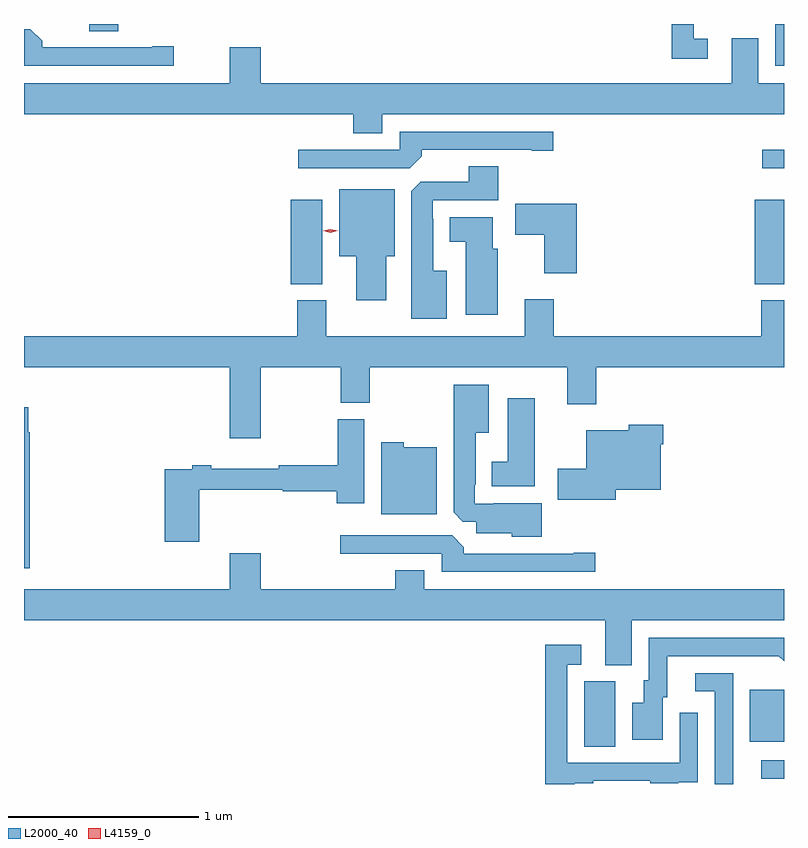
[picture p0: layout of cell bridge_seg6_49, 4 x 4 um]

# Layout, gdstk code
import gdstk
lib = gdstk.Library(unit=1e-6, precision=1e-09)
def R(c, l, rs):  # rectangles x0, y0, x1, y1
    for r in rs: c.add(gdstk.rectangle(r[:2], r[2:], *l))
def P(c, l, *ps):  # polygons
    for p in ps: c.add(gdstk.Polygon(p, *l))
L2000_40 = (2000, 40)
L4159_0 = (4159, 0)

bridge_seg6_49 = lib.new_cell('bridge_seg6_49')
R(bridge_seg6_49, L2000_40, [(1090.881,986.463,1091.002,986.559), (1089.95,986.632,1090.114,986.976), (1090.823,986.657,1091.002,986.932), (1088.405,989.065,1088.572,989.509), (1090.847,989.065,1091.002,989.509), (1090.887,989.676,1091.002,989.772), (1090.956,990.216,1091.002,990.435), (1087.346,990.397,1087.499,990.435)])
P(bridge_seg6_49, L2000_40, [(1090.6,990.357),(1090.527,990.357),(1090.527,990.435),(1090.411,990.435),(1090.411,990.252),(1090.6,990.252)],
  [(1087.789,990.317),(1087.676,990.317),(1087.676,990.312),(1087.097,990.312),(1087.097,990.346),(1087.035,990.408),(1087.002,990.408),(1087.002,990.216),(1087.789,990.216)],
  [(1088.887,989.96),(1091.002,989.96),(1091.002,990.124),(1090.867,990.124),(1090.867,990.36),(1090.727,990.36),(1090.727,990.124),(1088.248,990.124),(1088.248,990.313),(1088.084,990.313),(1088.084,990.124),(1087.002,990.124),(1087.002,989.96),(1088.735,989.96),(1088.735,989.861),(1088.887,989.861)],
  [(1089.095,989.738),(1089.095,989.772),(1089.674,989.772),(1089.674,989.767),(1089.787,989.767),(1089.787,989.868),(1088.979,989.868),(1088.979,989.772),(1088.445,989.772),(1088.445,989.676),(1089.033,989.676)],
  [(1089.226,989.137),(1089.157,989.137),(1089.157,989.411),(1089.153,989.411),(1089.153,989.508),(1089.497,989.508),(1089.497,989.687),(1089.344,989.687),(1089.344,989.604),(1089.09,989.604),(1089.041,989.555),(1089.041,988.883),(1089.226,988.883)],
  [(1088.908,989.213),(1088.953,989.213),(1088.953,989.566),(1088.66,989.566),(1088.66,989.213),(1088.75,989.213),(1088.75,988.98),(1088.908,988.98)],
  [(1089.91,989.488),(1089.588,989.488),(1089.588,989.326),(1089.74,989.326),(1089.74,989.123),(1089.91,989.123)],
  [(1089.496,989.253),(1089.469,989.253),(1089.469,989.419),(1089.242,989.419),(1089.242,989.288),(1089.326,989.288),(1089.326,988.905),(1089.496,988.905)],
  [(1088.248,988.628),(1088.668,988.628),(1088.668,988.441),(1088.823,988.441),(1088.823,988.628),(1089.86,988.628),(1089.86,988.434),(1090.013,988.434),(1090.013,988.628),(1091.002,988.628),(1091.002,988.98),(1090.883,988.98),(1090.883,988.792),(1089.791,988.792),(1089.791,988.987),(1089.638,988.987),(1089.638,988.792),(1088.593,988.792),(1088.593,988.98),(1088.441,988.98),(1088.441,988.792),(1087.002,988.792),(1087.002,988.628),(1088.084,988.628),(1088.084,988.254),(1088.248,988.254)],
  [(1089.727,987.913),(1089.475,987.913),(1089.475,987.909),(1089.375,987.909),(1089.375,988.009),(1089.379,988.009),(1089.379,988.283),(1089.448,988.283),(1089.448,988.537),(1089.263,988.537),(1089.263,987.865),(1089.312,987.816),(1089.383,987.816),(1089.383,987.755),(1089.57,987.755),(1089.57,987.737),(1089.727,987.737)],
  [(1089.691,988.465),(1089.548,988.465),(1089.548,988.132),(1089.464,988.132),(1089.464,988.001),(1089.691,988.001)],
  [(1087.031,988.287),(1087.025,988.287),(1087.025,988.417),(1087.002,988.417),(1087.002,987.57),(1087.031,987.57)],
  [(1087.925,987.984),(1088.364,987.984),(1088.364,987.976),(1088.648,987.976),(1088.648,987.912),(1088.794,987.912),(1088.794,988.356),(1088.653,988.356),(1088.653,988.112),(1088.344,988.112),(1088.344,988.093),(1087.988,988.093),(1087.988,988.112),(1087.888,988.112),(1087.888,988.092),(1087.742,988.092),(1087.742,987.711),(1087.925,987.711)],
  [(1090.117,987.983),(1090.354,987.983),(1090.354,988.223),(1090.367,988.223),(1090.367,988.327),(1090.184,988.327),(1090.184,988.297),(1089.962,988.297),(1089.962,988.095),(1089.81,988.095),(1089.81,987.932),(1090.117,987.932)],
  [(1089.175,988.207),(1089,988.207),(1089,988.234),(1088.882,988.234),(1088.882,987.854),(1089.175,987.854)],
  [(1090.009,987.653),(1089.896,987.653),(1089.896,987.648),(1089.317,987.648),(1089.317,987.682),(1089.255,987.744),(1088.667,987.744),(1088.667,987.648),(1089.201,987.648),(1089.201,987.552),(1090.009,987.552)],
  [(1090.201,987.296),(1091.002,987.296),(1091.002,987.46),(1089.109,987.46),(1089.109,987.559),(1088.957,987.559),(1088.957,987.46),(1088.248,987.46),(1088.248,987.649),(1088.084,987.649),(1088.084,987.46),(1087.002,987.46),(1087.002,987.296),(1090.061,987.296),(1090.061,987.061),(1090.201,987.061)],
  [(1090.363,986.892),(1090.387,986.892),(1090.387,987.108),(1090.975,987.108),(1091.002,987.081),(1091.002,987.204),(1090.29,987.204),(1090.29,986.982),(1090.265,986.982),(1090.265,986.863),(1090.202,986.863),(1090.202,986.667),(1090.363,986.667)],
  [(1089.901,986.439),(1089.997,986.439),(1089.997,986.451),(1090.297,986.451),(1090.297,986.439),(1090.445,986.439),(1090.445,986.445),(1090.547,986.445),(1090.547,986.554),(1090.548,986.554),(1090.548,986.809),(1090.452,986.809),(1090.452,986.547),(1089.861,986.547),(1089.861,987.063),(1089.934,987.063),(1089.934,987.169),(1089.745,987.169),(1089.745,986.435),(1089.901,986.435)],
  [(1090.735,986.561),(1090.734,986.561),(1090.734,987.018),(1090.536,987.018),(1090.536,986.922),(1090.638,986.922),(1090.638,986.435),(1090.735,986.435)])
P(bridge_seg6_49, L4159_0, [(1088.615,989.336),(1088.578,989.346),(1088.577,989.346),(1088.578,989.346),(1088.615,989.356),(1088.653,989.347),(1088.653,989.346),(1088.653,989.346)])

lib.write_gds('bridge_seg6_49.gds')
